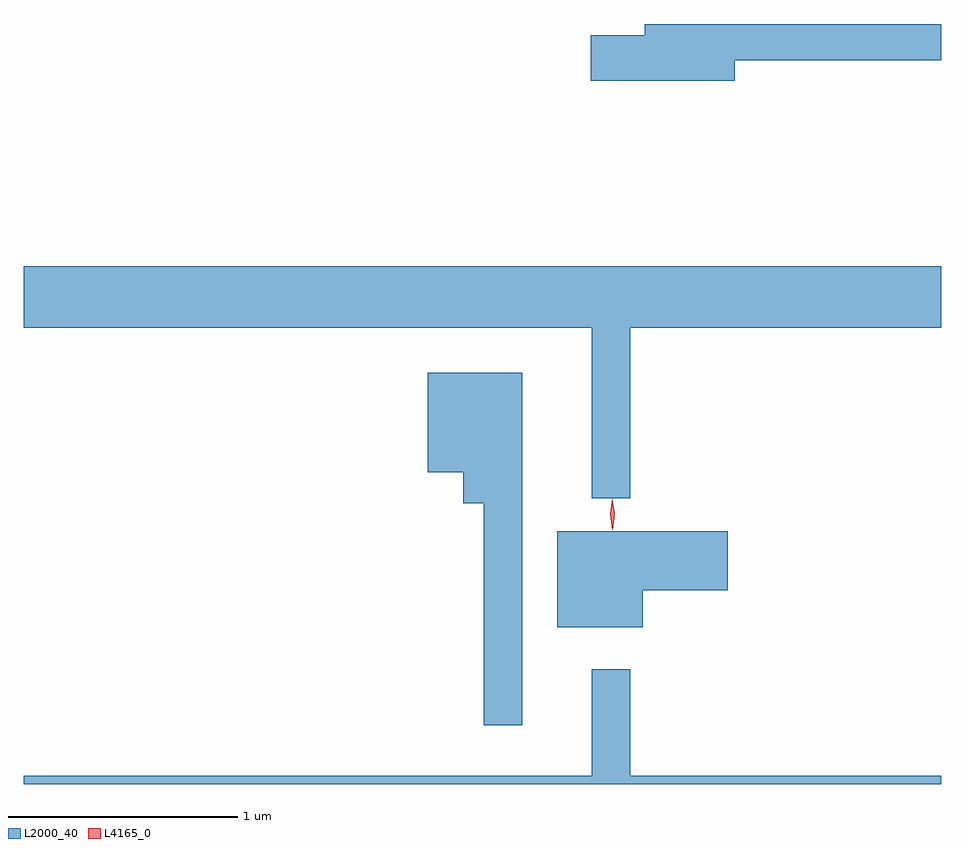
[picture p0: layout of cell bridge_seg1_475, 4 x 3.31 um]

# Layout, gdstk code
import gdstk
lib = gdstk.Library(unit=1e-6, precision=1e-09)
def P(c, l, *ps):  # polygons
    for p in ps: c.add(gdstk.Polygon(p, *l))
L2000_40 = (2000, 40)
L4165_0 = (4165, 0)

bridge_seg1_475 = lib.new_cell('bridge_seg1_475')
P(bridge_seg1_475, L2000_40, [(619.194,902.961),(620.095,902.961),(620.095,903.119),(618.801,903.119),(618.801,903.069),(618.566,903.069),(618.566,902.871),(619.194,902.871)],
  [(618.739,901.796),(620.095,901.796),(620.095,902.064),(616.095,902.064),(616.095,901.796),(618.571,901.796),(618.571,901.053),(618.739,901.053)],
  [(618.269,901.599),(617.856,901.599),(617.856,901.166),(618.011,901.166),(618.011,901.031),(618.101,901.031),(618.101,900.063),(618.269,900.063)],
  [(618.794,900.651),(619.164,900.651),(619.164,900.909),(618.421,900.909),(618.421,900.491),(618.794,900.491)],
  [(620.095,899.844),(618.739,899.844),(618.739,900.308),(618.571,900.308),(618.571,899.844),(616.095,899.844),(616.095,899.807),(620.095,899.807)])
P(bridge_seg1_475, L4165_0, [(618.661,900.914),(618.651,900.982),(618.66,901.05),(618.661,901.05),(618.661,901.05),(618.671,900.982),(618.662,900.914),(618.662,900.914)],
  [(618.662,900.92),(618.662,900.921),(618.652,900.984),(618.66,901.046),(618.661,901.047),(618.661,901.046),(618.671,900.984),(618.662,900.921)])

lib.write_gds('bridge_seg1_475.gds')
